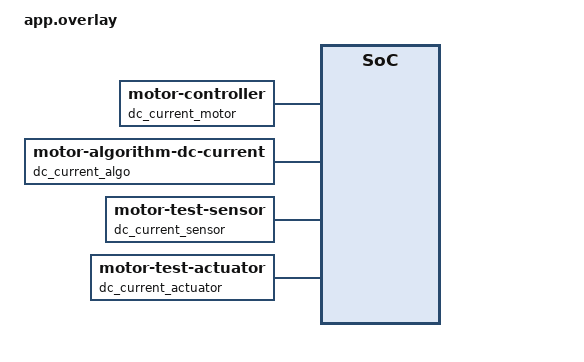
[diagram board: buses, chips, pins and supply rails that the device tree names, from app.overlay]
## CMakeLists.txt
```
# Copyright (c) 2026 Freedom Veiculos Eletricos
# SPDX-License-Identifier: Apache-2.0

cmake_minimum_required(VERSION 3.20.0)
find_package(Zephyr REQUIRED HINTS $ENV{ZEPHYR_BASE})
project(motor_algo_dc_current_test)

target_sources(app PRIVATE src/main.c ../common/motor_test_fake.c)
target_include_directories(app PRIVATE ../common)
```

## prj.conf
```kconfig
CONFIG_ZTEST=y
CONFIG_FORTIFY_SOURCE_NONE=y
```

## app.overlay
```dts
/ {
	dc_current_motor: motor-controller {
		compatible = "zephyr,motor-controller";
		status = "okay";

		sensor = <&dc_current_sensor>;
		actuator = <&dc_current_actuator>;
		algorithm = <&dc_current_algo>;
	};

	dc_current_algo: motor-algorithm-dc-current {
		compatible = "zephyr,motor-algorithm-dc-current";
		status = "okay";

		dc-current-kp-milli = <500>;
		dc-current-ki-milli = <0>;
		dc-current-out-min-milli = <(-1000)>;
		dc-current-out-max-milli = <1000>;
		i-max-ma = <5000>;
	};

	dc_current_sensor: motor-test-sensor {
		compatible = "zephyr,motor-test-sensor";
		status = "okay";
	};

	dc_current_actuator: motor-test-actuator {
		compatible = "zephyr,motor-test-actuator";
		status = "okay";
		pwm-frequency = <20000>;
	};
};
```

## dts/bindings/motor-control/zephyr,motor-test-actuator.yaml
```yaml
# Copyright (c) 2026 Zephyr Motor Control Contributors
# SPDX-License-Identifier: Apache-2.0

description: Test-only motor actuator binding for native_sim unit tests.

compatible: "zephyr,motor-test-actuator"

include: base.yaml

properties:
  pwm-frequency:
    type: int
    required: true
    description: Fake actuator PWM frequency in Hz.
```

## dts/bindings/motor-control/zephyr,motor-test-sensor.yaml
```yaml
# Copyright (c) 2026 Zephyr Motor Control Contributors
# SPDX-License-Identifier: Apache-2.0

description: Test-only motor sensor binding for native_sim unit tests.

compatible: "zephyr,motor-test-sensor"

include: base.yaml
```

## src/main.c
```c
/*
 * Copyright (c) 2026 Zephyr Motor Control Contributors
 *
 * SPDX-License-Identifier: Apache-2.0
 */

#include <zephyr/device.h>
#include <zephyr/subsys/motor/algorithms/dc_current/motor_algo_dc_current.h>
#include <zephyr/subsys/motor/motor.h>
#include <zephyr/subsys/motor/motor_subsys.h>
#include <zephyr/ztest.h>

#include "motor_test_fake.h"

static struct motor_test_fake dc_current_fake;

DEVICE_DT_DEFINE(DT_NODELABEL(dc_current_sensor), motor_test_fake_sensor_init, NULL,
		 &dc_current_fake, NULL, POST_KERNEL, CONFIG_KERNEL_INIT_PRIORITY_DEVICE,
		 &motor_test_fake_sensor_ops);
DEVICE_DT_DEFINE(DT_NODELABEL(dc_current_actuator), motor_test_fake_actuator_init, NULL,
		 &dc_current_fake, NULL, POST_KERNEL, CONFIG_KERNEL_INIT_PRIORITY_DEVICE,
		 &motor_test_fake_actuator_ops);

static void *suite_setup(void)
{
	zassert_equal(motor_subsys_init(), 0, NULL);
	return NULL;
}

ZTEST_SUITE(motor_algo_dc_current_suite, NULL, suite_setup, NULL, NULL, NULL);

ZTEST(motor_algo_dc_current_suite, test_current_command_updates_state_and_duty)
{
	motor_t motor = motor_subsys_get_by_label("dc_current_motor");
	struct motor_dc_current_state state;

	zassert_not_null(motor, NULL);

	dc_current_fake.sensor_samples[0] = 0.0f;
	dc_current_fake.sensor_sample_count = 1U;
	dc_current_fake.has_last_duty = false;

	zassert_equal(motor_enable(motor), 0, NULL);
	zassert_equal(motor_algo_dc_current_set_current(motor, 1.0f), 0, NULL);
	motor_test_fake_sync_fire(DEVICE_DT_GET(DT_NODELABEL(dc_current_actuator)));

	/* PI: u = kp * err = 0.5 * 1.0 = 0.5; mapped duty d = (u+1)/2 = 0.75. */
	zassert_true(dc_current_fake.has_last_duty, NULL);
	zassert_equal(dc_current_fake.last_n_duty, 2U, NULL);
	zassert_within(dc_current_fake.last_duty[0], 0.75f, 1e-4f, NULL);
	zassert_within(dc_current_fake.last_duty[1], 0.25f, 1e-4f, NULL);

	zassert_equal(motor_algo_dc_current_get_state(motor, &state), 0, NULL);
	zassert_within(state.i_ref_a, 1.0f, 1e-6f, NULL);
	zassert_within(state.i_meas_a, 0.0f, 1e-6f, NULL);
	zassert_within(state.error_a, 1.0f, 1e-6f, NULL);
	zassert_within(state.duty, 0.75f, 1e-4f, NULL);

	zassert_equal(motor_algo_dc_current_set_current(motor, 500.0f), 0, NULL);
	motor_test_fake_sync_fire(DEVICE_DT_GET(DT_NODELABEL(dc_current_actuator)));
	zassert_within(dc_current_fake.last_duty[0], 1.0f, 1e-4f, NULL);
	zassert_within(dc_current_fake.last_duty[1], 0.0f, 1e-4f, NULL);

	motor_estop(motor);
}
```
